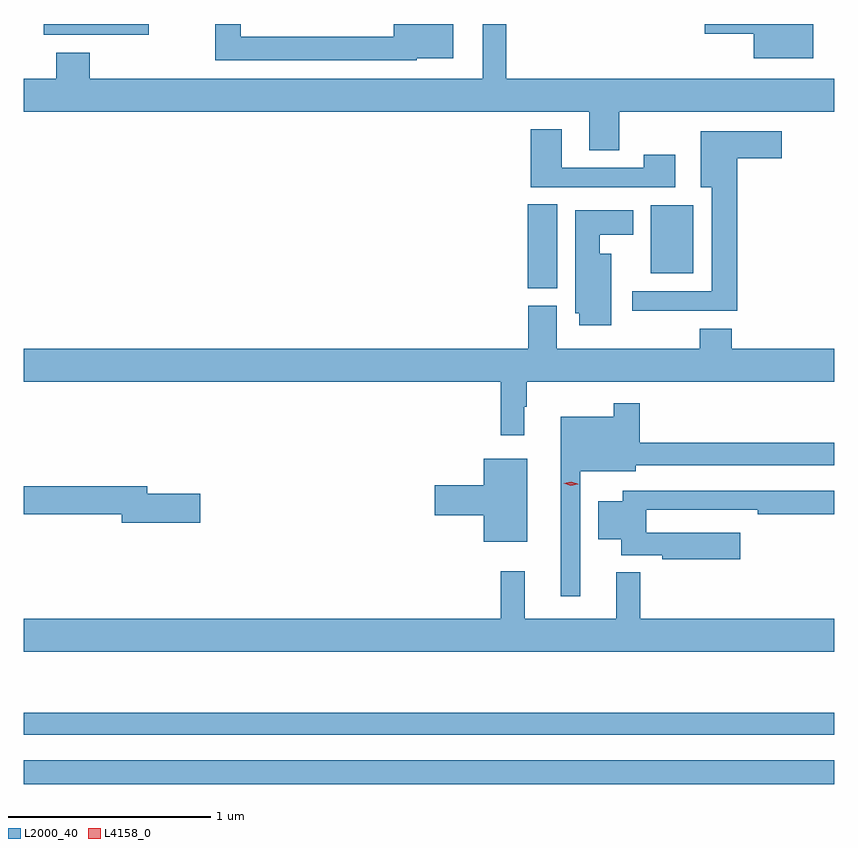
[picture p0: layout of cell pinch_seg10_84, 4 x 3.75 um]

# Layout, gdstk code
import gdstk
lib = gdstk.Library(unit=1e-6, precision=1e-09)
def R(c, l, rs):  # rectangles x0, y0, x1, y1
    for r in rs: c.add(gdstk.rectangle(r[:2], r[2:], *l))
def P(c, l, *ps):  # polygons
    for p in ps: c.add(gdstk.Polygon(p, *l))
L2000_40 = (2000, 40)
L4158_0 = (4158, 0)

pinch_seg10_84 = lib.new_cell('pinch_seg10_84')
R(pinch_seg10_84, L2000_40, [(744.947,1316.98,748.947,1317.096), (744.947,1317.222,748.947,1317.331), (747.434,1319.425,747.58,1319.84), (748.04,1319.501,748.252,1319.836), (745.047,1320.678,745.564,1320.73)])
P(pinch_seg10_84, L2000_40, [(746.886,1320.56),(747.067,1320.56),(747.067,1320.73),(746.774,1320.73),(746.774,1320.668),(746.017,1320.668),(746.017,1320.73),(745.893,1320.73),(745.893,1320.552),(746.886,1320.552)],
  [(748.843,1320.73),(748.308,1320.73),(748.308,1320.683),(748.55,1320.683),(748.55,1320.56),(748.843,1320.56)],
  [(747.329,1320.73),(747.212,1320.73),(747.212,1320.46),(745.273,1320.46),(745.273,1320.589),(745.109,1320.589),(745.109,1320.46),(744.947,1320.46),(744.947,1320.296),(747.737,1320.296),(747.737,1320.106),(747.885,1320.106),(747.885,1320.296),(748.947,1320.296),(748.947,1320.46),(747.329,1320.46)],
  [(748.162,1320.085),(748.006,1320.085),(748.006,1320.021),(747.601,1320.021),(747.601,1320.211),(747.449,1320.211),(747.449,1319.925),(748.162,1319.925)],
  [(748.469,1320.068),(748.687,1320.068),(748.687,1320.202),(748.289,1320.202),(748.289,1319.924),(748.343,1319.924),(748.343,1319.412),(747.951,1319.412),(747.951,1319.315),(748.469,1319.315)],
  [(747.847,1319.596),(747.79,1319.596),(747.79,1319.69),(747.955,1319.69),(747.955,1319.812),(747.668,1319.812),(747.668,1319.304),(747.689,1319.304),(747.689,1319.244),(747.847,1319.244)],
  [(747.418,1318.841),(747.43,1318.841),(747.43,1318.964),(748.947,1318.964),(748.947,1319.128),(748.442,1319.128),(748.442,1319.227),(748.282,1319.227),(748.282,1319.128),(747.577,1319.128),(747.577,1319.34),(747.437,1319.34),(747.437,1319.128),(744.947,1319.128),(744.947,1318.964),(747.301,1318.964),(747.301,1318.701),(747.418,1318.701)],
  [(747.693,1318.523),(747.967,1318.523),(747.967,1318.554),(748.947,1318.554),(748.947,1318.663),(747.986,1318.663),(747.986,1318.858),(747.858,1318.858),(747.858,1318.792),(747.596,1318.792),(747.596,1317.906),(747.693,1317.906)],
  [(747.433,1318.585),(747.218,1318.585),(747.218,1318.454),(746.976,1318.454),(746.976,1318.307),(747.218,1318.307),(747.218,1318.175),(747.433,1318.175)],
  [(745.819,1318.412),(745.558,1318.412),(745.558,1318.448),(744.947,1318.448),(744.947,1318.312),(745.43,1318.312),(745.43,1318.27),(745.819,1318.27)],
  [(748.483,1318.219),(748.018,1318.219),(748.018,1318.332),(748.57,1318.332),(748.57,1318.312),(748.947,1318.312),(748.947,1318.428),(747.902,1318.428),(747.902,1318.375),(747.782,1318.375),(747.782,1318.187),(747.896,1318.187),(747.896,1318.109),(748.098,1318.109),(748.098,1318.09),(748.483,1318.09)],
  [(748.947,1317.796),(747.989,1317.796),(747.989,1318.024),(747.872,1318.024),(747.872,1317.796),(747.419,1317.796),(747.419,1318.03),(747.301,1318.03),(747.301,1317.796),(744.947,1317.796),(744.947,1317.632),(748.947,1317.632)])
P(pinch_seg10_84, L4158_0, [(747.647,1318.452),(747.612,1318.464),(747.612,1318.464),(747.612,1318.464),(747.648,1318.472),(747.682,1318.461),(747.683,1318.46),(747.682,1318.46)])

lib.write_gds('pinch_seg10_84.gds')
